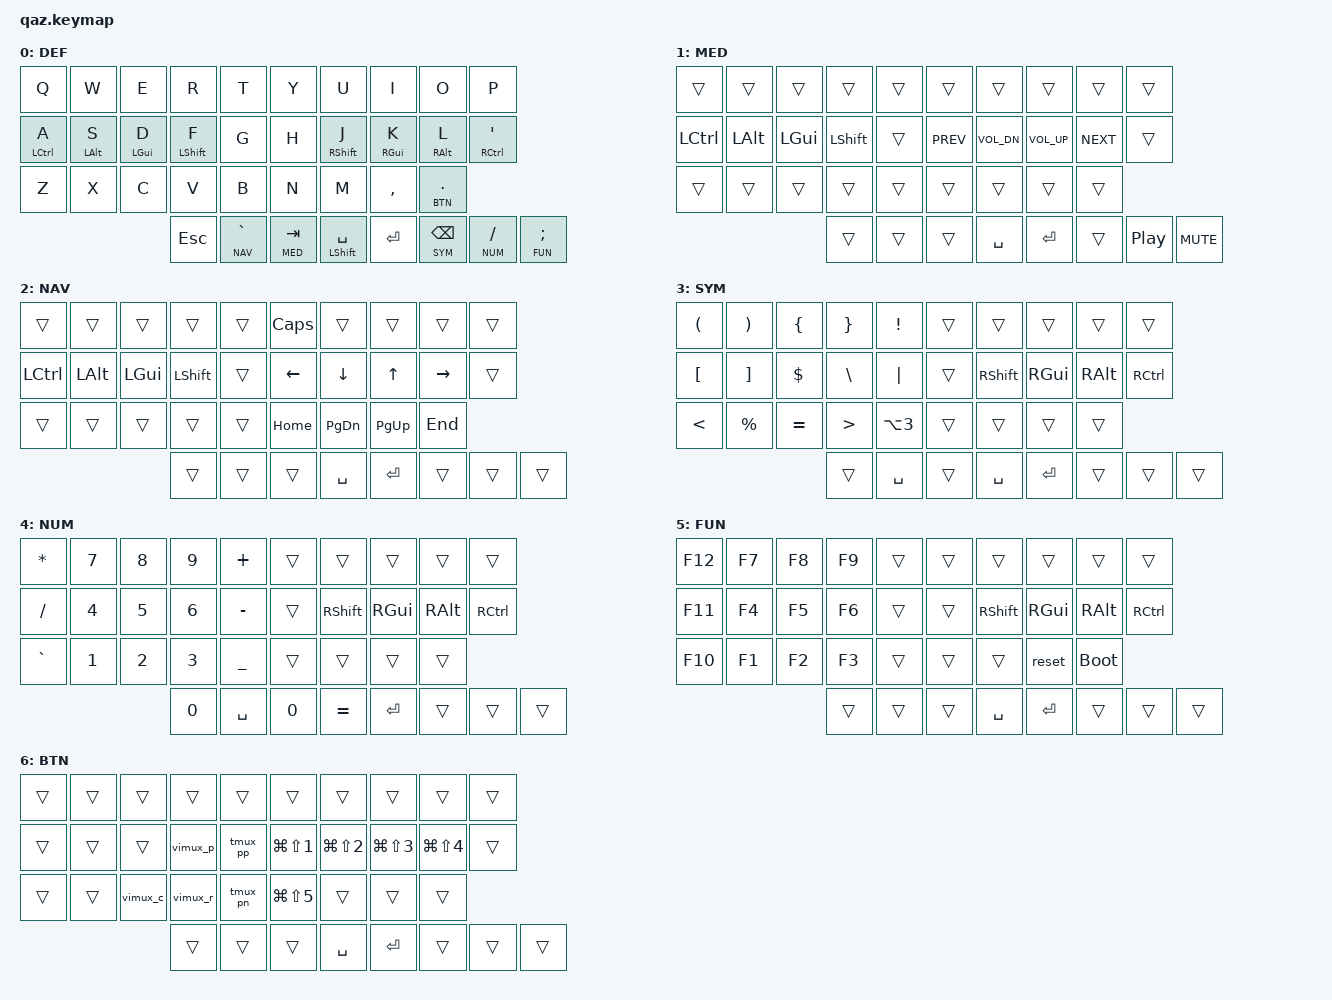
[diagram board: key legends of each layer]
/*
 * Copyright (c) 2020 The ZMK Contributors
 *
 * SPDX-License-Identifier: MIT
 */

#include <behaviors.dtsi>
#include <dt-bindings/zmk/keys.h>
#include <dt-bindings/zmk/outputs.h>

// Layers

#define QWE 0
#define MED 1
#define NAV 2
#define SYM 3
#define NUM 4
#define FUN 5
#define BTN 6

&mt {
    flavor = "hold-preferred";
    tapping-term-ms = <180>;
};

&lt {
    flavor = "balanced";
    tapping-term-ms = <180>;
};

/ {
		behaviors {
			am: alpha_mods {
				compatible = "zmk,behavior-hold-tap";
				label = "ALPHA_MT";
				#binding-cells = <2>;
				tapping-term-ms = <250>;
				quick-tap-ms = <150>;
				flavor = "tap-preferred";
				bindings = <&kp>, <&kp>;
			};
			as: alpha_shift {
				compatible = "zmk,behavior-hold-tap";
				label = "ALPHA_SFT";
				#binding-cells = <2>;
				tapping-term-ms = <200>;
				quick-tap-ms = <150>;
				flavor = "tap-preferred";
				bindings = <&kp>, <&kp>;
			};
		};
		macros {
			vimux_p: vimux_p {
				label = "VIMUX_P";
				compatible = "zmk,behavior-macro";
				#binding-cells = <0>;
				wait-ms = <40>;
				tap-ms = <40>;
				bindings
					= <&kp BSLH &kp V &kp P>
					;
			};
			vimux_r: vimux_r {
				label = "VIMUX_R";
				compatible = "zmk,behavior-macro";
				#binding-cells = <0>;
				wait-ms = <40>;
				tap-ms = <40>;
				bindings
					= <&kp BSLH &kp R>
					;
			};
			vimux_c: vimux_c {
				label = "VIMUX_C";
				compatible = "zmk,behavior-macro";
				#binding-cells = <0>;
				wait-ms = <40>;
				tap-ms = <40>;
				bindings
					= <&kp BSLH &kp C>
					;
			};
			tmux_pp: tmux_pp {
				label = "TMUX_PP";
				compatible = "zmk,behavior-macro";
				#binding-cells = <0>;
				wait-ms = <40>;
				tap-ms = <40>;
				bindings
					= <&macro_press &kp LCTRL>
					, <&macro_tap &kp B>
					, <&macro_release &kp LCTRL>
					, <&macro_tap &kp P>
					;
			};
			tmux_pn: tmux_pn {
				label = "TMUX_PN";
				compatible = "zmk,behavior-macro";
				#binding-cells = <0>;
				wait-ms = <40>;
				tap-ms = <40>;
				bindings
					= <&macro_press &kp LCTRL>
					, <&macro_tap &kp B>
					, <&macro_release &kp LCTRL>
					, <&macro_tap &kp O>
					;
			};
		};
		keymap {
				compatible = "zmk,keymap";

				default_layer {
					label = "DEF";
					bindings = <
   &kp Q        &kp W           &kp E           &kp R           &kp T                   &kp Y            &kp U          &kp I          &kp O         &kp P
   &am LCTRL A  &am LALT S      &am LGUI D      &as LSHFT F     &kp G                   &kp H            &as RSHFT J    &am RGUI K     &am RALT L    &am RCTRL APOS
   &kp Z    &kp X           &kp C           &kp V           &kp B                   &kp N            &kp M          &kp COMMA      &lt BTN DOT
						                   &kp ESC   &lt NAV GRAVE   &lt MED TAB &am LSHFT SPACE &kp RET &lt SYM BSPC    &lt NUM FSLH     &lt FUN SEMI
					>;
				};

				media_layer {
					label = "MED";
					bindings = <
   &trans        &trans           &trans           &trans           &trans                   &trans        &trans          &trans          &trans         &trans
   &kp LCTRL     &kp LALT         &kp LGUI         &kp LSHFT        &trans                   &kp C_PREV    &kp C_VOL_DN    &kp C_VOL_UP    &kp C_NEXT     &trans
   &trans        &trans           &trans           &trans           &trans                   &trans        &trans          &trans          &trans
							                 &trans           &trans           &trans &kp SPACE &kp RET &trans        &kp C_PP        &kp K_MUTE
					>;
				};

				navigation_layer {
					label = "NAV";
					bindings = <
   &trans        &trans           &trans           &trans           &trans                   &kp CAPS      &trans          &trans          &trans         &trans
   &kp LCTRL     &kp LALT         &kp LGUI         &kp LSHFT        &trans                   &kp LEFT      &kp DOWN        &kp UP          &kp RIGHT      &trans
   &trans        &trans           &trans           &trans           &trans                   &kp HOME      &kp PG_DN       &kp PG_UP       &kp END
							                 &trans           &trans           &trans &kp SPACE &kp RET &trans        &trans          &trans
					>;
				};

				symbols_layer {
					label = "SYM";
					bindings = <
   &kp LPAR      &kp RPAR         &kp LBRC         &kp RBRC         &kp EXCL                 &trans        &trans          &trans          &trans         &trans
   &kp LBKT      &kp RBKT         &kp DLLR         &kp BSLH         &kp PIPE                 &trans        &kp RSHFT       &kp RGUI        &kp RALT       &kp RCTRL
   &kp LT        &kp PRCNT        &kp EQUAL        &kp GT           &kp LA(N3)               &trans        &trans          &trans          &trans
							                 &trans           &kp SPACE        &trans &kp SPACE &kp RET &trans        &trans          &trans
					>;
				};

				numbers_layer {
					label = "NUM";
					bindings = <
   &kp STAR      &kp N7           &kp N8           &kp N9           &kp PLUS                 &trans        &trans          &trans          &trans         &trans
   &kp FSLH      &kp N4           &kp N5           &kp N6           &kp MINUS                &trans        &kp RSHFT       &kp RGUI        &kp RALT       &kp RCTRL
   &kp GRAVE     &kp N1           &kp N2           &kp N3           &kp UNDER                &trans        &trans          &trans          &trans
							                 &kp N0           &kp SPACE        &kp N0 &kp EQUAL &kp RET &trans        &trans          &trans
					>;
				};

				function_layer {
					label = "FUN";
					bindings = <
   &kp F12     &kp F7           &kp F8           &kp F9           &trans                &trans        &trans          &trans          &trans         &trans
   &kp F11     &kp F4           &kp F5           &kp F6           &trans                &trans        &kp RSHFT       &kp RGUI        &kp RALT       &kp RCTRL
   &kp F10     &kp F1           &kp F2           &kp F3           &trans                &trans        &trans          &reset         &bootloader
							               &trans           &trans           &trans &kp SPACE &kp RET &trans        &trans          &trans
					>;
				};

				macro_layer {
					label = "BTN";
					bindings = <
   &trans       &trans          &trans           &trans           &trans                &trans           &trans           &trans          &trans           &trans
   &trans       &trans          &trans           &vimux_p         &tmux_pp              &kp LG(LS(N1))   &kp LG(LS(N2))   &kp LG(LS(N3))  &kp LG(LS(N4))   &trans
   &trans       &trans          &vimux_c         &vimux_r         &tmux_pn              &kp LG(LS(N5))   &trans           &trans          &trans
							               &trans           &trans           &trans &kp SPACE &kp RET &trans           &trans           &trans
					>;
				};
		};
};

// -----------------------------------------------------------------------------------------
// |      |     |     |     |     |     |   |     |      |     |     |     |      |
// |      |     |     |     |     |     |   |     |      |     |     |     |      |
// |      |     |     |     |     |     |   |     |      |     |     |     |      |
//                    |     |     |     |   |     |      |     |
